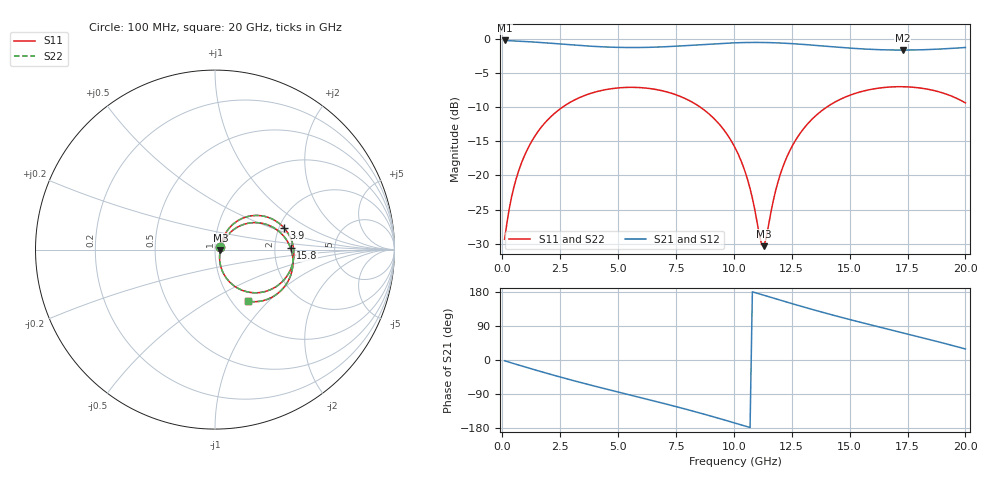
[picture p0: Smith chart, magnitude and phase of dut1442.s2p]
! Touchstone file exported from HFSS 2026.1.0
!  File:  C:/ffzhzh/LocalFiles/Ansys_Project_Files/temp_train_TSV_RDL_1442_1783357740_50076.aedt
!  Generated:  01:22:54 AM Jul  7, 2026
!  Design:  TSV_RDL
!  Project:  temp_train_TSV_RDL_1442_1783357740_50076
! Variables:
!  h_bsmrdl = 2.66um
!  h_ox = 20um
!  h_rdl = 5um
!  h_sub = 58.15um
!  h_tmrdl = 3.66um
!  h_tsv = 58.15um
!  h_via = 3um
!  l_bsmrdl = 783.24um
!  l_sub = 5850.46um
!  l_tmrdl = 740.85um
!  m_sub = 200um
!  pitch = 39.89um
!  r_tsv = 6.06um
!  s_tmrdl = 10um
!  w_bsmrdl = 17.05um
!  w_sub = 500um
!  w_tmrdl = 28.73um
!  x_tsv_center1 = 755.215um
!  x_tsv_center2 = 1555.505um
!  x_tsv_center3 = 2325.085um
!  x_tsv_center4 = 3125.375um
!  x_tsv_center5 = 3894.955um
!  x_tsv_center6 = 4695.245um
# GHz S MA R 50.000000
! Terminal data exported
! Port[1] = TM_RDL1_1_T1
! Port[2] = TM_RDL5_1_T1
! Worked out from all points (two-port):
!   200 points, 100 MHz to 20 GHz, reference 50 ohm
!   highest |S21| = -0.27 dB at 100 MHz (marker M1); lowest = -1.7 dB at 17.3 GHz (marker M2)
!   |S21| within 3 dB of the highest: start of sweep to end of sweep
!   lowest |S11| = -30.3 dB at 11.3 GHz (marker M3), VSWR 1.06, Z = 53.1 - j0.163 ohm
!   |S11| at or under -10 dB: start of sweep to 2.606 GHz; 8.544 GHz to 14.01 GHz (5.47 GHz wide, 48.5 % of centre)
!   |S22| runs from -30.4 to -7.0 dB; largest |S21 - S12| = 1.8e-14
!   S11 on the Smith chart (normalised r, x): 100 MHz: 1.06, +0.03; 3.9 GHz: 2.12, +0.62; 15.8 GHz: 2.46, +0.04; 20 GHz: 1.18, -0.76
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0.1  0.03421 26.9  0.9699 -2.0  0.9699 -2.0  0.03421 26.9
! Gamma 0 0 0 0
! Port Impedance 50 0 50 0
0.5  0.08202 55.2  0.9623 -9.6  0.9623 -9.6  0.08202 55.2
1.2  0.1692 54.9  0.9484 -22.3  0.9484 -22.3  0.1692 54.9
2.2  0.2791 42.5  0.9225 -39.8  0.9225 -39.8  0.2791 42.5
3.5  0.3808 23.6  0.8875 -61.3  0.8875 -61.3  0.3809 23.6
3.9  0.402 17.8  0.8788 -67.6  0.8788 -67.6  0.402 17.8
5.3  0.4397 -2.2  0.8616 -89.0  0.8616 -89.0  0.4398 -2.2
6.8  0.4198 -23.7  0.8691 -111.9  0.8691 -111.9  0.4198 -23.7
8.8  0.2937 -53.0  0.9089 -144.4  0.9089 -144.4  0.2937 -53.0
10.1  0.1537 -69.7  0.933 -167.3  0.933 -167.3  0.1538 -69.7
10.6  0.09251 -70.7  0.9374 -176.4  0.9374 -176.4  0.09254 -70.8
11.2  0.03121 -26.0  0.9378 172.6  0.9378 172.6  0.03114 -26.1
11.3  0.03043 -2.9  0.9373 170.8  0.9373 170.8  0.03034 -2.9
12.1  0.1134 48.5  0.9277 156.2  0.9277 156.2  0.1133 48.6
12.7  0.1849 44.2  0.915 145.4  0.915 145.4  0.1848 44.3
13.4  0.2601 35.2  0.8965 133.2  0.8965 133.2  0.26 35.3
14.5  0.3536 19.5  0.8656 114.9  0.8656 114.9  0.3535 19.6
15.8  0.4216 1.0  0.8371 94.4  0.8371 94.4  0.4216 1.1
16.7  0.4427 -11.6  0.8269 80.7  0.8269 80.7  0.4427 -11.5
17.3  0.4453 -19.9  0.8251 71.6  0.8251 71.6  0.4453 -19.8
18.7  0.4153 -39.4  0.8363 50.1  0.8363 50.1  0.4154 -39.3
20  0.3394 -57.7  0.8616 29.1  0.8616 29.1  0.3395 -57.6
